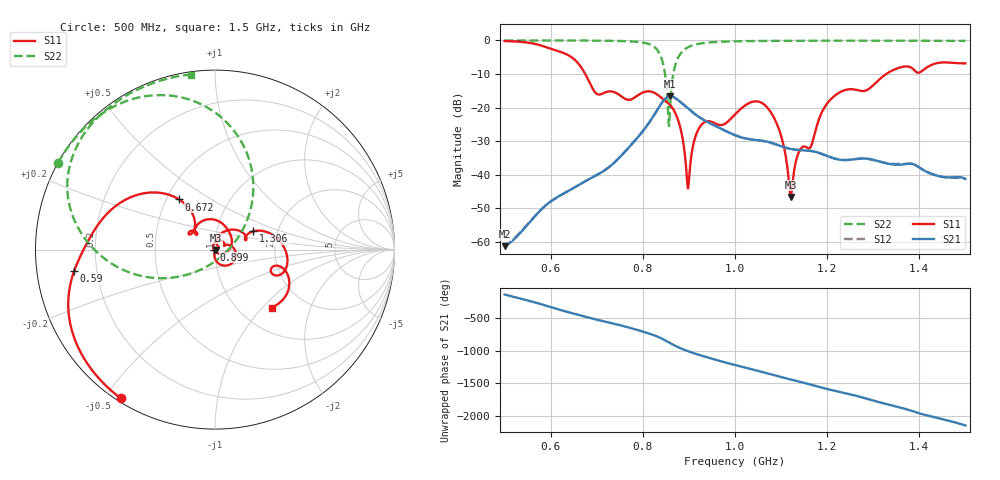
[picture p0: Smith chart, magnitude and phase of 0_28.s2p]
! TOUCHSTONE file generated by CST MICROWAVE STUDIO
! Date and time: Sat Oct 24 11:16:11 2020
! Project name: Scenario_1_Circular_Tissue_in_Line.cst
! Parameters = {L_HA=400; MT=2.54; Rad_Dielectric=30; Rad_Lower=7.3; Rad_Upper=30; a_HA=580; a_WG=246; b_HA=500; b_WG=121; c_HA=0; c_WG=187; d_feed=85; dx1=640.64; h_feed=15; h_lower=18; h_upper=40}
! Header version: 2018
! Port assignment regex: !\s*Touchstone port\s*([0-9]+)\s*=\s*(CST MWS port|CST DS port)\s*([0-9]+|Zmin|Zmax)\s*\(\"(.*)\"\)(\s*mode\s*([0-9]+))?.*
! Touchstone port assignment:
! Touchstone port 1 = CST MWS port 1 ("")
! Touchstone port 2 = CST MWS port 2 ("")
# GHz S DB R 50
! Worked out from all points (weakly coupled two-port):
!   1003 points, 500 MHz to 1.5 GHz, reference 50 ohm
!   highest |S21| = -16.65 dB at 859 MHz (marker M1); lowest = -61.3 dB at 500 MHz (marker M2)
!   lowest |S11| = -46.6 dB at 1.121 GHz (marker M3), VSWR 1.01, Z = 50.4 - j0.233 ohm
!   |S11| at or under -10 dB: 674.9 MHz to 1.328 GHz (653.3 MHz wide, 65.2 % of centre)
!   |S22| runs from -25.5 to 0.0 dB; largest |S21 - S12| = 0.00053
!   S11 on the Smith chart (normalised r, x): 500 MHz: 0.01, -0.55; 590 MHz: 0.12, -0.07; 672 MHz: 0.58, +0.37; 899 MHz: 0.99, -0.00; 1.306 GHz: 1.50, +0.32; 1.5 GHz: 1.38, -1.14
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0.5  -0.17 -122.4  -61.31 -134.0  -61.27 -134.4  -0.01 151.1
0.59  -2.00 -171.3  -49.06 54.6  -49.07 54.7  -0.02 144.9
0.667  -8.19 129.2  -42.58 -100.0  -42.58 -100.1  -0.04 138.3
0.672  -9.29 125.5  -42.18 -109.5  -42.18 -109.6  -0.04 137.9
0.701  -15.99 137.7  -40.04 -162.6  -40.04 -162.6  -0.07 134.7
0.781  -17.11 141.6  -30.13 55.4  -30.13 55.4  -0.35 120.0
0.834  -16.41 74.8  -20.12 -68.6  -20.13 -68.5  -3.36 81.7
0.847  -17.84 53.9  -17.57 -113.6  -17.58 -113.6  -9.03 53.6
0.859  -19.25 31.2  -16.65 -161.3  -16.65 -161.2  -20.13 -113.3
0.872  -22.12 -0.6  -17.34 150.5  -17.34 150.5  -6.65 -162.8
0.899  -43.33 -175.5  -20.39 70.9  -20.39 71.0  -1.96 168.5
0.926  -25.33 68.4  -23.19 8.5  -23.19 8.6  -0.88 155.6
1  -22.05 19.6  -28.23 -139.2  -28.25 -139.1  -0.27 140.2
1.073  -20.49 -66.3  -30.26 85.6  -30.33 85.3  -0.14 132.1
1.101  -28.87 -95.1  -31.57 32.7  -31.55 32.6  -0.12 129.6
1.121  -46.62 -29.7  -32.34 -1.8  -32.34 -1.8  -0.11 127.9
1.139  -33.13 32.5  -32.65 -32.9  -32.69 -32.6  -0.11 126.4
1.167  -30.80 66.4  -32.98 -85.8  -32.98 -85.2  -0.10 124.2
1.21  -17.24 53.3  -34.93 -165.5  -34.94 -165.6  -0.08 120.8
1.306  -12.54 25.6  -35.81 21.7  -35.83 22.0  -0.08 113.6
1.334  -9.50 13.7  -36.78 -30.1  -36.69 -28.3  -0.08 111.4
1.5  -6.83 -46.1  -41.27 10.4  -41.27 10.4  -0.14 97.8
